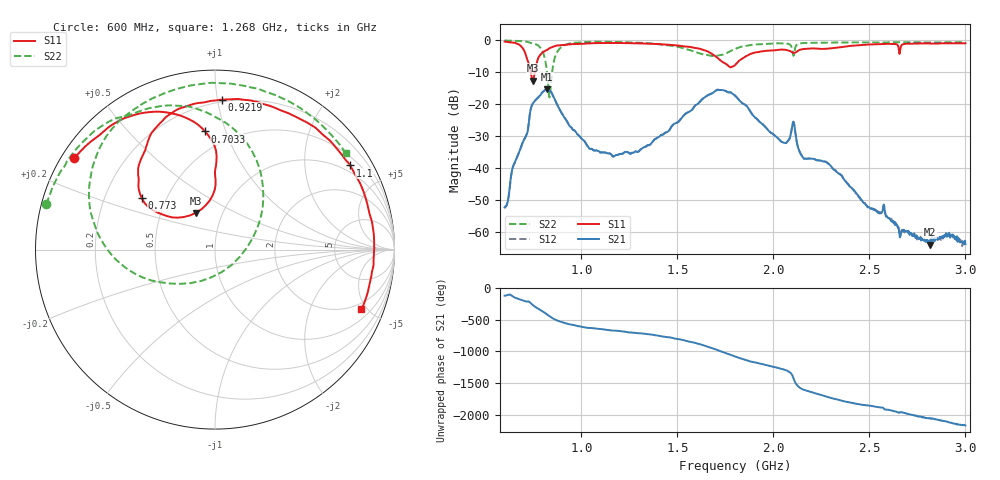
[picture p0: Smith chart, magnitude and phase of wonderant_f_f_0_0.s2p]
#  HZ  S  RI  R  50.00
! Rohde & Schwarz ZVB8 2Ports - Version 2.81 - 1145.1010k08 SN: 100113
! Date: 2016-05-17 22:37:32
! Measurements: S11 S21 S12 S22
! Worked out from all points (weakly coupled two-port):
!   1000 points, 600 MHz to 3 GHz, reference 50 ohm
!   highest |S21| = -15.45 dB at 821 MHz (marker M1); lowest = -63.8 dB at 2.817 GHz (marker M2)
!   lowest |S11| = -12.7 dB at 746.5 MHz (marker M3), VSWR 1.60, Z = 37.4 + j16.2 ohm
!   |S11| at or under -10 dB: 735.8 MHz to 757.6 MHz (21.8 MHz wide, 2.92 % of centre)
!   |S22| runs from -18.0 to -0.2 dB; largest |S21 - S12| = 0.0018
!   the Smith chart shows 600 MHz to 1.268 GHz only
!   S11 on the Smith chart (normalised r, x): 600 MHz: 0.04, +0.30; 703.3 MHz: 0.36, +0.85; 773 MHz: 0.36, +0.28; 921.9 MHz: 0.18, +1.03; 1.1 GHz: 0.76, +3.34; 1.268 GHz: 1.54, -4.60
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6e8  -0.7837 0.509  -0.00119 -0.00215  -0.00122 -0.00212  -0.9394 0.2515
7.033033e8  -0.0548 0.6583  -0.0258 0.0116  -0.0257 0.0121  -0.6592 0.6697
7.465465e8  -0.1065 0.2047  -0.00731 0.1006  -0.00769 0.1006  -0.4102 0.7748
7.72973e8  -0.408 0.2862  0.0969 0.0776  0.0967 0.0792  -0.18 0.8005
8.21021e8  -0.381 0.5794  0.095 -0.1395  0.0953 -0.1393  0.2539 0.1747
8.498498e8  -0.3006 0.7094  -0.0605 -0.1245  -0.0599 -0.125  -0.3046 -0.182
8.786787e8  -0.1668 0.7963  -0.0838 -0.0353  -0.0838 -0.0356  -0.6652 0.1225
9.219219e8  0.0372 0.8356  -0.0522 0.0182  -0.0523 0.0179  -0.6608 0.5224
1.001201e9  0.3997 0.7641  -0.00933 0.0271  -0.00947 0.0271  -0.3459 0.8441
1.0997e9  0.7534 0.4688  0.00508 0.0167  0.00512 0.0166  0.0889 0.9243
1.267868e9  0.816 -0.3328  0.0166 0.00464  0.0167 0.00467  0.7284 0.5379
1.4e9  0.349 -0.7807  0.0255 -0.0161  0.0256 -0.0162  0.8463 -0.0957
1.616216e9  -0.5844 -0.4215  -0.1038 -0.0264  -0.1037 -0.0266  0.1236 -0.5955
1.801201e9  -0.4037 -0.0278  0.1335 -0.0099  0.1334 -0.0092  -0.3032 -0.6516
1.902102e9  -0.5352 0.3282  -0.00398 -0.0622  -0.00354 -0.062  -0.7404 -0.4004
2.027027e9  0.0233 0.6948  -0.0284 0.00256  -0.0285 0.00243  -0.8571 0.1903
2.103904e9  0.4034 0.479  0.0495 0.0187  0.0493 0.0188  -0.4595 0.3223
2.2e9  0.7271 0.0782  -0.0123 0.00663  -0.0123 0.00664  -0.5098 0.7338
2.409009e9  0.211 -0.776  0.00471 -0.00116  0.00466 -0.00119  0.2788 0.8616
2.601201e9  -0.6001 -0.6182  -0.001 -0.00134  -0.00095 -0.00132  0.8089 0.4166
2.817417e9  -0.8706 0.044  -8.53e-05 0.000638  -0.000156 0.000736  0.8593 -0.3008
3e9  -0.6524 0.5871  0.000637 -0.000147  0.000716 -0.000122  0.5377 -0.739
